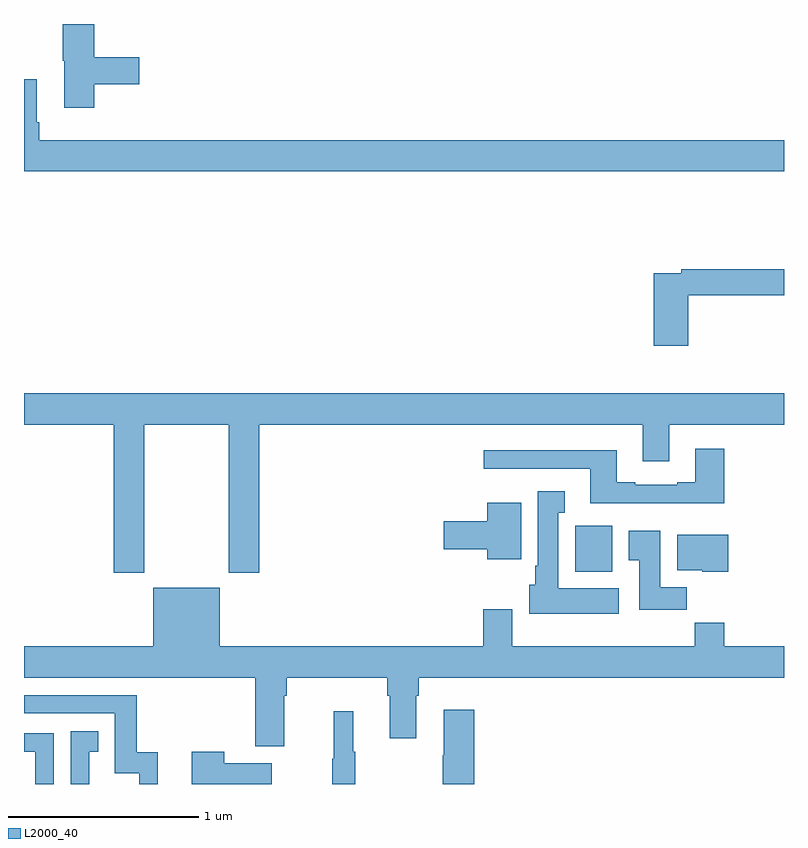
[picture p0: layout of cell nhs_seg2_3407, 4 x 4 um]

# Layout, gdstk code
import gdstk
lib = gdstk.Library(unit=1e-6, precision=1e-09)
def R(c, l, rs):  # rectangles x0, y0, x1, y1
    for r in rs: c.add(gdstk.rectangle(r[:2], r[2:], *l))
def P(c, l, *ps):  # polygons
    for p in ps: c.add(gdstk.Polygon(p, *l))
L2000_40 = (2000, 40)

nhs_seg2_3407 = lib.new_cell('nhs_seg2_3407')
R(nhs_seg2_3407, L2000_40, [(293.9,590.918,294.097,591.16)])
P(nhs_seg2_3407, L2000_40, [(291.371,593.482),(291.607,593.482),(291.607,593.624),(291.371,593.624),(291.371,593.8),(291.205,593.8),(291.205,593.607),(291.212,593.607),(291.212,593.358),(291.371,593.358)],
  [(295,593.188),(291.08,593.188),(291.08,593.284),(291.067,593.284),(291.067,593.509),(291,593.509),(291,593.024),(295,593.024)],
  [(294.497,592.372),(295,592.372),(295,592.508),(294.46,592.508),(294.46,592.488),(294.314,592.488),(294.314,592.107),(294.497,592.107)],
  [(291.633,591.692),(292.078,591.692),(292.078,590.913),(292.238,590.913),(292.238,591.692),(294.257,591.692),(294.257,591.498),(294.397,591.498),(294.397,591.692),(295,591.692),(295,591.856),(291,591.856),(291,591.692),(291.473,591.692),(291.473,590.913),(291.633,590.913)],
  [(294.686,591.565),(294.533,591.565),(294.533,591.388),(294.437,591.388),(294.437,591.375),(294.217,591.375),(294.217,591.388),(294.121,591.388),(294.121,591.556),(293.421,591.556),(293.421,591.459),(293.981,591.459),(293.981,591.278),(294.686,591.278)],
  [(294.13,590.83),(293.812,590.83),(293.812,591.227),(293.845,591.227),(293.845,591.34),(293.705,591.34),(293.705,590.95),(293.69,590.95),(293.69,590.85),(293.66,590.85),(293.66,590.696),(294.13,590.696)],
  [(293.617,591.28),(293.438,591.28),(293.438,591.182),(293.208,591.182),(293.208,591.035),(293.438,591.035),(293.438,590.984),(293.617,590.984)],
  [(294.488,590.836),(294.349,590.836),(294.349,591.133),(294.182,591.133),(294.182,590.977),(294.239,590.977),(294.239,590.718),(294.488,590.718)],
  [(294.706,591.112),(294.437,591.112),(294.437,590.924),(294.57,590.924),(294.57,590.918),(294.706,590.918)],
  [(292.369,590.264),(292.382,590.264),(292.382,590.36),(292.913,590.36),(292.913,590.264),(292.925,590.264),(292.925,590.04),(293.065,590.04),(293.065,590.264),(293.078,590.264),(293.078,590.36),(295,590.36),(295,590.524),(294.686,590.524),(294.686,590.648),(294.529,590.648),(294.529,590.524),(293.569,590.524),(293.569,590.719),(293.417,590.719),(293.417,590.524),(292.03,590.524),(292.03,590.833),(291.68,590.833),(291.68,590.524),(291,590.524),(291,590.36),(292.217,590.36),(292.217,589.998),(292.369,589.998)],
  [(291.704,589.966),(291.593,589.966),(291.593,590.268),(291,590.268),(291,590.172),(291.477,590.172),(291.477,589.857),(291.606,589.857),(291.606,589.8),(291.704,589.8)],
  [(293.369,590.191),(293.21,590.191),(293.21,589.952),(293.203,589.952),(293.203,589.8),(293.369,589.8)],
  [(292.744,589.969),(292.733,589.969),(292.733,590.182),(292.63,590.182),(292.63,589.932),(292.623,589.932),(292.623,589.8),(292.744,589.8)],
  [(291.343,589.971),(291.392,589.971),(291.392,590.077),(291.246,590.077),(291.246,589.8),(291.343,589.8)],
  [(291.156,590.067),(291,590.067),(291,589.97),(291.06,589.97),(291.06,589.8),(291.156,589.8)],
  [(292.303,589.909),(292.055,589.909),(292.055,589.969),(291.884,589.969),(291.884,589.8),(292.303,589.8)])

lib.write_gds('nhs_seg2_3407.gds')
